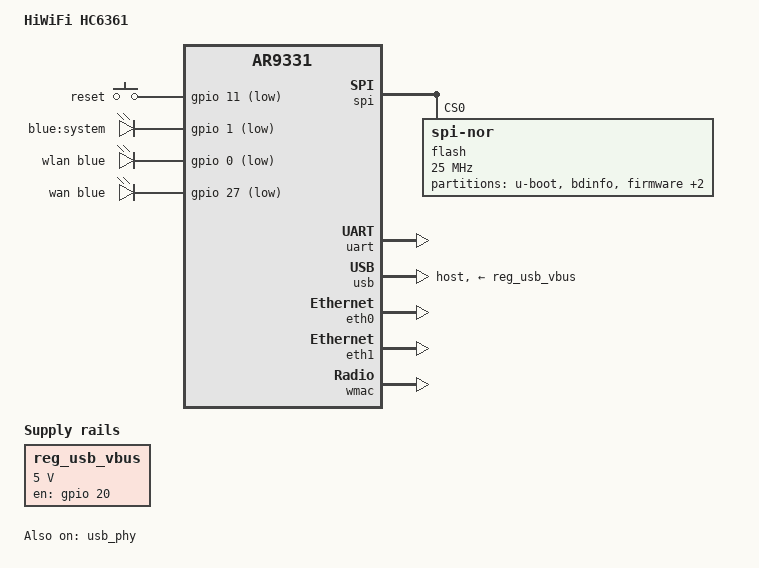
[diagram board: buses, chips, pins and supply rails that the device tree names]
// SPDX-License-Identifier: GPL-2.0-or-later OR MIT

#include "ar9331.dtsi"

#include <dt-bindings/gpio/gpio.h>
#include <dt-bindings/input/input.h>
#include <dt-bindings/leds/common.h>

/ {
	model = "HiWiFi HC6361";
	compatible = "hiwifi,hc6361", "qca,ar9331";

	aliases {
		serial0 = &uart;
		led-boot = &led_system;
		led-failsafe = &led_system;
		led-running = &led_system;
		led-upgrade = &led_system;
	};

	keys {
		compatible = "gpio-keys";

		reset {
			label = "reset";
			linux,code = <KEY_RESTART>;
			gpios = <&gpio 11 GPIO_ACTIVE_LOW>;
			debounce-interval = <60>;
		};
	};

	leds {
		compatible = "gpio-leds";

		led_system: system {
			label = "blue:system";
			gpios = <&gpio 1 GPIO_ACTIVE_LOW>;
			default-state = "on";
		};
		wlan {
			function = LED_FUNCTION_WLAN;
			color = <LED_COLOR_ID_BLUE>;
			gpios = <&gpio 0 GPIO_ACTIVE_LOW>;
		};
		wan {
			function = LED_FUNCTION_WAN;
			color = <LED_COLOR_ID_BLUE>;
			gpios = <&gpio 27 GPIO_ACTIVE_LOW>;
		};
	};

	reg_usb_vbus: regulator {
		compatible = "regulator-fixed";
		regulator-name = "usb_vbus";
		regulator-min-microvolt = <5000000>;
		regulator-max-microvolt = <5000000>;
		enable-active-high;
		gpios = <&gpio 20 GPIO_ACTIVE_HIGH>;
	};
};

&spi {
	status = "okay";
	num-cs = <1>;

	flash@0 {
		compatible = "jedec,spi-nor";
		reg = <0>;
		spi-max-frequency = <25000000>;

		partitions {
			compatible = "fixed-partitions";
			#address-cells = <1>;
			#size-cells = <1>;

			uboot: partition@0 {
				reg = <0x0 0x10000>;
				label = "u-boot";
				read-only;
			};

			bdinfo: partition@10000 {
				reg = <0x10000 0x10000>;
				label = "bdinfo";
				read-only;

				nvmem-layout {
					compatible = "fixed-layout";
					#address-cells = <1>;
					#size-cells = <1>;

					macaddr_bdinfo_18a: macaddr@18a {
						compatible = "mac-base";
						reg = <0x18a 0x11>;
						#nvmem-cell-cells = <1>;
					};
				};
			};

			firmware: partition@20000 {
				compatible = "denx,uimage";
				reg = <0x20000 0xfc0000>;
				label = "firmware";
			};

			backup: partition@fe0000 {
				reg = <0xfe0000 0x10000>;
				label = "backup";
				read-only;
			};

			art: partition@ff0000 {
				reg = <0xff0000 0x10000>;
				label = "art";
				read-only;
			};
		};
	};
};

&gpio {
	status = "okay";
};

&uart {
	status = "okay";
};

&usb {
	status = "okay";
	dr_mode = "host";
	vbus-supply = <&reg_usb_vbus>;
};

&usb_phy {
	status = "okay";
};

&eth0 {
	status = "okay";

	nvmem-cells = <&macaddr_bdinfo_18a 1>;
	nvmem-cell-names = "mac-address";
};

&eth1 {
	status = "okay";

	nvmem-cells = <&macaddr_bdinfo_18a 0>;
	nvmem-cell-names = "mac-address";
};

&wmac {
	status = "okay";
	mtd-cal-data = <&art 0x1000>;

	nvmem-cells = <&macaddr_bdinfo_18a 2>;
	nvmem-cell-names = "mac-address";
};
